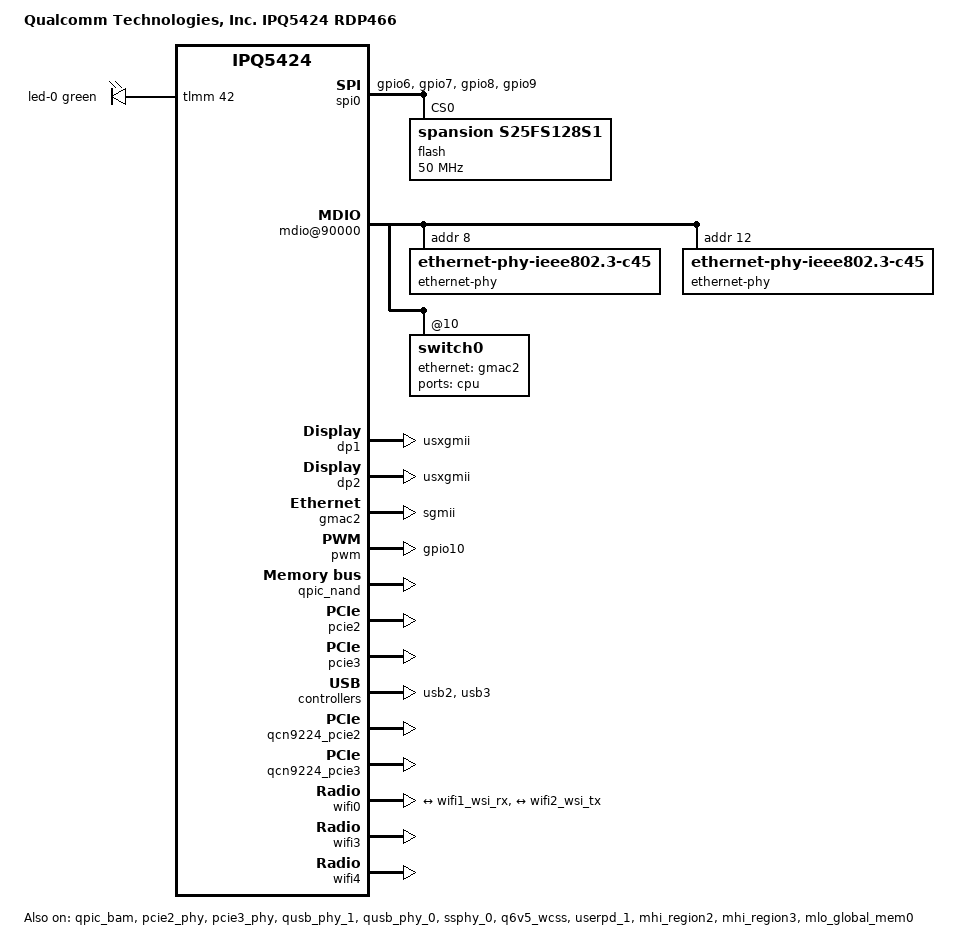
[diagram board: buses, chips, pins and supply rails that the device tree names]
// SPDX-License-Identifier: (GPL-2.0+ OR BSD-3-Clause)
/*
 * IPQ5424 RDP466 board device tree source
 *
 * Copyright (c) 2020-2021 The Linux Foundation. All rights reserved.
 * Copyright (c) 2022-2025 Qualcomm Innovation Center, Inc. All rights reserved.
 */

/dts-v1/;

#include "ipq5424-rdp-common.dtsi"
#ifdef __IPQ_MEM_PROFILE_512_MB__
#include "ipq5424-512MB-default-memory.dtsi"
#else
#include "ipq5424-default-memory.dtsi"
#endif

/ {
	model = "Qualcomm Technologies, Inc. IPQ5424 RDP466";
	compatible = "qcom,ipq5424-rdp466", "qcom,ipq5424";

	soc@0 {
		tlmm: pinctrl@1000000 {
			qup_spi1_default: qup-spi1-default-state {
				qup_spi1_clk {
					pins = "gpio45";
					function = "spi10";
					drive-strength = <8>;
					bias-disable;
				};

				qup_spi1_cs {
					pins = "gpio46";
					function = "spi1_cs";
					drive-strength = <8>;
					bias-disable;
				};

				qup_spi1_miso {
					pins = "gpio47";
					function = "spi10";
					drive-strength = <8>;
					bias-disable;
				};

				qup_spi1_mosi {
					pins = "gpio48";
					function = "spi10";
					drive-strength = <8>;
					bias-disable;
				};
			};

			audio_pins_pri: audio_pinmux_pri {
				mux_1 {
					pins = "gpio36";
					function = "audio_pri";
					drive-strength = <8>;
					bias-pull-down;
				};

				mux_2 {
					pins = "gpio37";
					function = "audio_pri";
					drive-strength = <8>;
					bias-pull-down;
				};

				mux_3 {
					pins = "gpio38";
					function = "audio_pri";
					drive-strength = <8>;
					bias-pull-down;
				};

				mux_4 {
					pins = "gpio39";
					function = "audio_pri";
					drive-strength = <8>;
					bias-pull-down;
				};
			};
		};

		qupv3: geniqup@1ac0000 {

			i2c0: i2c@1a88000 {
				pinctrl-0 = <&qup_i2c0_default>;
				pinctrl-names = "default";
				status = "disabled";
			};

			spi0: spi@1a90000 {
				pinctrl-0 = <&qup_spi0_default>;
				pinctrl-names = "default";
				status = "okay";

				flash@0 {
					compatible = "spansion,s25fs128s1", "jedec,spi-nor";
					#address-cells = <1>;
					#size-cells = <1>;
					reg = <0>;
					spi-max-frequency = <50000000>;
				};
			};

			spi1: spi@1a94000 {
				pinctrl-0 = <&qup_spi1_default>;
				pinctrl-names = "default";
				status = "disabled";

				spidev1: spi@0 {
					compatible = "qti,spidev";
					reg = <0>;
					spi-max-frequency = <9600000>;
				};
			};
		};

		leds {
			compatible = "gpio-leds";
			pinctrl-0 = <&gpio_leds_default>;
			pinctrl-names = "default";

			led-0 {
				color = <LED_COLOR_ID_GREEN>;
				function = LED_FUNCTION_WLAN;
				gpios = <&tlmm 42 GPIO_ACTIVE_HIGH>;
				linux,default-trigger = "phy0tx";
				default-state = "off";
			};
		};

		wsi: wsi {
			id = <0>;
			num_chip = <3>;
			chip_info = <0 2 1 2>,
				    <1 2 2 0>,
				    <2 2 0 1>;
			status = "okay";
		};

		mdio@90000 {
			/* GPIO40 is for port 1 QCA81XX PHY */
			/* GPIO28 is for port 2 QCA81XX PHY */
			/* GPIO18 is for QCA8386 switch */
			phy-reset-gpio = <
				&tlmm 40 GPIO_ACTIVE_LOW
				&tlmm 28 GPIO_ACTIVE_LOW
				&tlmm 18 GPIO_ACTIVE_LOW
			>;

			ethernet-phy@4 {
				reg = <8>;
				compatible ="ethernet-phy-ieee802.3-c45";
			};

			ethernet-phy@5 {
				reg = <12>;
				compatible ="ethernet-phy-ieee802.3-c45";
			};

			switch0@10 {
				ports {
					port@0 {
						reg = <0>;
						label = "cpu";
						ethernet = <&gmac2>;
						dsa-tag-protocol = "qca_8021q";
					};
				};
			};
		};

		ess-instance {
#ifdef __CONFIG_IO_COHERENCY__
			dma-coherent;
#endif
			ess-switch@3a000000 {
#ifdef __CONFIG_IO_COHERENCY__
				dma-coherent;
#endif
				switch_cpu_bmp = <0x1>;  /* cpu port bitmap */
				switch_lan_bmp = <0xc>; /* lan port bitmap */
				switch_wan_bmp = <0x2>; /* wan port bitmap */
				switch_mac_mode = <0xd>; /* mac mode for uniphy instance0*/
				switch_mac_mode1 = <0xd>; /* mac mode for uniphy instance1*/

				qcom,port_phyinfo {
					port@0 {
						port_id = <1>;
						phy_address = <8>;
						ethernet-phy-ieee802.3-c45;
					};

					port@1 {
						port_id = <2>;
						phy_address = <12>;
						ethernet-phy-ieee802.3-c45;
					};
				};
			};

			ess-switch1@1 {
#ifdef __CONFIG_IO_COHERENCY__
				dma-coherent;
#endif
				link-polling-required = <0>;
				fdb_sync = "interrupt";
				link-intr-gpio = <&tlmm 41 GPIO_ACTIVE_HIGH>;
			};
		};

		dp1 {
			device_type = "network";
			compatible = "qcom,nss-dp";
#ifdef __CONFIG_IO_COHERENCY__
			dma-coherent;
#endif
			qcom,id = <1>;
			reg = <0x3A500000 0x4000>;
			qcom,mactype = <1>;
			local-mac-address = [000000000000];
			qcom,phy-mdio-addr = <8>;
			qcom,link-poll = <1>;
			phy-mode = "usxgmii";
		};

		dp2 {
			device_type = "network";
			compatible = "qcom,nss-dp";
#ifdef __CONFIG_IO_COHERENCY__
			dma-coherent;
#endif
			qcom,id = <2>;
			reg = <0x3A504000 0x4000>;
			qcom,mactype = <1>;
			local-mac-address = [000000000000];
			qcom,phy-mdio-addr = <12>;
			qcom,link-poll = <1>;
			phy-mode = "usxgmii";
		};

		gmac2:dp3 {
			device_type = "network";
			compatible = "qcom,nss-dp";
#ifdef __CONFIG_IO_COHERENCY__
			dma-coherent;
#endif
			qcom,id = <3>;
			reg = <0x3a001400 0x200>;
			qcom,mactype = <0>;
			local-mac-address = [000000000000];
			qcom,mht-dev = <1>;
			qcom,is_switch_connected = <1>;
			phy-mode = "sgmii";
			qcom,ppe-offload-disabled = <1>;
		};

		/* EDMA host driver configuration for the board */
		edma@3ab00000 {
#ifdef __CONFIG_IO_COHERENCY__
			dma-coherent;
#endif
			qcom,txdesc-ring-start = <4>;		/* Tx desc ring start ID */
			qcom,txdesc-rings = <16>;		/* Total number of Tx desc rings to be provisioned */
			qcom,mht-txdesc-rings = <12>;		/* Extra Tx desc rings to be provisioned for MHT SW ports */
			qcom,txcmpl-ring-start = <4>;		/* Tx complete ring start ID */
			qcom,txcmpl-rings = <16>;		/* Total number of Tx complete rings to be provisioned */
			qcom,mht-txcmpl-rings = <12>;		/* Extra Tx complete rings to be provisioned for mht sw ports. */
			qcom,rxfill-ring-start = <4>;		/* Rx fill ring start ID */
			qcom,rxfill-rings = <4>;		/* Total number of Rx fill rings to be provisioned */
			qcom,rxdesc-ring-start = <20>;		/* Rx desc ring start ID */
			qcom,rxdesc-rings = <4>;		/* Total number of Rx desc rings to be provisioned */
			qcom,rx-page-mode = <0>;		/* Rx fill ring page mode */
			qcom,tx-map-priority-level = <1>;	/* Tx priority level per port */
			qcom,rx-map-priority-level = <1>;	/* Rx priority level per core */
			qcom,ppeds-num = <3>;			/* Number of PPEDS nodes */
			/* PPE-DS node format: <Rx-fill Tx-cmpl Rx Tx Queue-base Queue-count> */
			qcom,ppeds-map = <1 1 1 1 32 8>,	/* PPEDS Node #0 ring and queue map */
					<2 2 2 2 40 8>,		/* PPEDS Node #1 ring and queue map */
					<3 3 3 3 48 8>;		/* PPEDS Node #2 ring and queue map */
			qcom,txdesc-map = <4 5 6 7>,		/* Port1 per-core Tx ring map */
					<8 9 10 11>,		/* Port2 per-core Tx ring map */
					<12 13 14 15>,		/* MHT-Port1 per-core Tx ring map */
					<16 17 18 19>,		/* MHT-Port2 per-core Tx ring map */
					<20 21 22 23>,		/* MHT-Port3 per-core Tx ring map */
					<24 25 26 27>,		/* MHT-Port4 per-core Tx ring map */
					<28 29 30 31>;		/* Used only for packets from VP */
			qcom,txdesc-fc-grp-map = <1 2 3 4 5 6>;	/* Per GMAC flow control group map */
			qcom,rxfill-map = <4 5 6 7>;		/* Per-core Rx fill ring map */
			qcom,rxdesc-map = <20 21 22 23>;	/* Per-core Rx desc ring map */
			qcom,rx-queue-start = <0>;		/* Rx queue start */
			qcom,edma_loopback_ring;                /* Enable Loopback ring */
			qcom,num_loopback_rings = <1>;          /* Number of loopback rings */
			qcom,txdesc_loopback_ring_id = <0>;     /* Loopback TX desc ring ID */
			qcom,txcmpl_loopback_ring_id = <0>;     /* Loopback TX cmpl ring ID */
			qcom,rxfill_loopback_ring_id = <0>;     /* Loopback RX fill ring ID */
			qcom,rxdesc_loopback_ring_id = <0>;     /* Loopback RX desc ring ID */
			qcom,loopback_queue_base = <56>;        /* Loopback queue base */
			qcom,loopback_num_queues = <8>;         /* Number of Loopback queues */
			qcom,rx-ring-queue-map = <0 8 16 24>,	/* Priority 0 queues per-core Rx ring map */
						<1 9 17 25>,	/* Priority 1 queues per-core Rx ring map */
						<2 10 18 26>,	/* Priority 2 queues per-core Rx ring map */
						<3 11 19 27>,	/* Priority 3 queues per-core Rx ring map */
						<4 12 20 28>,	/* Priority 4 queues per-core Rx ring map */
						<5 13 21 29>,	/* Priority 5 queues per-core Rx ring map */
						<6 14 22 30>,	/* Priority 6 queues per-core Rx ring map */
						<7 15 23 31>;	/* Priority 7 queues per-core Rx ring map */
			interrupts = <0 286 4>,			/* Tx complete ring id #4 IRQ info */
					<0 287 4>,		/* Tx complete ring id #5 IRQ info */
					<0 288 4>,		/* Tx complete ring id #6 IRQ info */
					<0 289 4>,		/* Tx complete ring id #7 IRQ info */
					<0 290 4>,		/* Tx complete ring id #8 IRQ info */
					<0 291 4>,		/* Tx complete ring id #9 IRQ info */
					<0 292 4>,		/* Tx complete ring id #10 IRQ info */
					<0 293 4>,		/* Tx complete ring id #11 IRQ info */
					<0 294 4>,		/* Tx complete ring id #12 IRQ info */
					<0 295 4>,		/* Tx complete ring id #13 IRQ info */
					<0 296 4>,		/* Tx complete ring id #14 IRQ info */
					<0 297 4>,		/* Tx complete ring id #15 IRQ info */
					<0 298 4>,		/* Tx complete ring id #16 IRQ info */
					<0 299 4>,		/* Tx complete ring id #17 IRQ info */
					<0 300 4>,		/* Tx complete ring id #18 IRQ info */
					<0 301 4>,		/* Tx complete ring id #19 IRQ info */
					<0 270 4>,		/* Rx desc ring id #20 IRQ info */
					<0 271 4>,		/* Rx desc ring id #21 IRQ info */
					<0 272 4>,		/* Rx desc ring id #22 IRQ info */
					<0 273 4>,		/* Rx desc ring id #23 IRQ info */
					<0 314 4>,		/* Misc error IRQ info */
					<0 278 4>,		/* RxFill ring id #4 IRQ info */
					<0 279 4>,		/* RxFill ring id #5 IRQ info */
					<0 280 4>,		/* RxFill ring id #6 IRQ info */
					<0 281 4>,		/* RxFill ring id #7 IRQ info */
					<0 283 4>,		/* PPEDS Node #0(TxComp ring id #1) TxComplete IRQ info */
					<0 251 4>,		/* PPEDS Node #0(Rx Desc ring id #1) Rx Desc IRQ info */
					<0 275 4>,		/* PPEDS Node #0(RxFill Desc ring id #1) Rx Fill IRQ info */
					<0 284 4>,		/* PPEDS Node #1(TxComp ring id #2) TxComplete IRQ info */
					<0 252 4>,		/* PPEDS Node #1(Rx Desc ring id #2) Rx Desc IRQ info */
					<0 276 4>,		/* PPEDS Node #1(RxFill Desc ring id #2) Rx Fill IRQ info */
					<0 285 4>,		/* PPEDS Node #2(TxComp ring id #3) TxComplete IRQ info */
					<0 253 4>,		/* PPEDS Node #2(Rx Desc ring id #3) Rx Desc IRQ info */
					<0 277 4>,		/* PPEDS Node #2(RxFill Desc ring id #3) Rx Fill IRQ info */
					<0 302 4>,		/* MHT port Tx complete ring id #20 IRQ info */
					<0 303 4>,		/* MHT port Tx complete ring id #21 IRQ info */
					<0 304 4>,		/* MHT port Tx complete ring id #22 IRQ info */
					<0 305 4>,		/* MHT port Tx complete ring id #23 IRQ info */
					<0 306 4>,		/* MHT port Tx complete ring id #24 IRQ info */
					<0 307 4>,		/* MHT port Tx complete ring id #25 IRQ info */
					<0 308 4>,		/* MHT port Tx complete ring id #26 IRQ info */
					<0 309 4>,		/* MHT port Tx complete ring id #27 IRQ info */
					<0 310 4>,		/* MHT port Tx complete ring id #28 IRQ info */
					<0 311 4>,		/* MHT port Tx complete ring id #29 IRQ info */
					<0 312 4>,		/* MHT port Tx complete ring id #30 IRQ info */
					<0 313 4>;		/* MHT port Tx complete ring id #31 IRQ info */
		};
	};
};

&pcm {
	pinctrl-0 = <&audio_pins_pri>;
	pinctrl-names = "primary";
	status = "disabled";
};

&pwm {
	pinctrl-0 = <&pwm_default_state>;
	pinctrl-names = "default";
};

&qpic_bam {
	status = "okay";
};

&qpic_nand {
	status = "okay";
};

&pcie0 {
	perst-gpio = <&tlmm 25 GPIO_ACTIVE_LOW>;

	pcie0_rp {
		reg = <0 0 0 0 0>;
	};
};

&pcie1 {
	perst-gpio = <&tlmm 28 GPIO_ACTIVE_LOW>;

	pcie1_rp {
		reg = <0 0 0 0 0>;
	};
};

&pcie2_phy {
	status = "okay";
};

&pcie2 {
	status = "okay";
	perst-gpio = <&tlmm 31 GPIO_ACTIVE_LOW>;

	pcie2_rp {
		reg = <0 0 0 0 0>;

		qcom,mhi@2 {
			reg = <0 0 0 0 0>;
			boot-args = <0x2 0x4 0xFF 0x3 0x0 0x0  /* MX Rail, Invalid GPIO, Drive strength 0x3 */
					0x5 0x4 0x34 0x3 0x0 0x16 /* CX Rail, GPIO52, Drive strength 0x3, CPR1_fuse 0x0, CPR0_fuse 0x16 */
					0x0 0x4 0x0 0x0 0x0 0x0>; /* End of arguments */
			memory-region = <&qcn9224_pcie2>, <&mhi_region2>, <&mlo_global_mem0>;
			memory-region-names = "host-ddr-mem", "mhi-region", "mlo-global-mem";
			qcom,early_cal_enabled = "supported";
			qcom,caldata_offset = <0x12000>;
			qcom,board_id = <0x29>;
			qcom,wsi = <&wsi>;
			qcom,wsi_index = <1>;
			ports {
				#address-cells = <1>;
				#size-cells = <0>;

				port@0 {
					reg = <0>;

					wifi1_wsi_tx: endpoint {
						remote-endpoint = <&wifi2_wsi_rx>;
					};
				};

				port@1 {
					reg = <1>;

					wifi1_wsi_rx: endpoint {
						remote-endpoint = <&wifi0_wsi_tx>;
					};
				};
			};
		};
	};
};

&pcie3_phy {
	status = "okay";
};

&pcie3 {
	status = "okay";
	perst-gpio = <&tlmm 34 GPIO_ACTIVE_LOW>;

	pcie3_rp {
		reg = <0 0 0 0 0>;

		qcom,mhi@3 {
			reg = <0 0 0 0 0>;
			boot-args = <0x2 0x4 0xFF 0x3 0x0 0x0  /* MX Rail, Invalid GPIO, Drive strength 0x3 */
					0x5 0x4 0x34 0x3 0x0 0x16 /* CX Rail, GPIO52, Drive strength 0x3, CPR1_fuse 0x0, CPR0_fuse 0x16 */
					0x0 0x4 0x0 0x0 0x0 0x0>; /* End of arguments */
			memory-region = <&qcn9224_pcie3>, <&mhi_region3>, <&mlo_global_mem0>;
			memory-region-names = "host-ddr-mem", "mhi-region", "mlo-global-mem";
			qcom,early_cal_enabled = "supported";
			qcom,caldata_offset = <0x2e800>;
			qcom,board_id = <0x28>;
			qcom,wsi = <&wsi>;
			qcom,wsi_index = <2>;
			ports {
				#address-cells = <1>;
				#size-cells = <0>;

				port@0 {
					reg = <0>;

					wifi2_wsi_tx: endpoint {
						remote-endpoint = <&wifi0_wsi_rx>;
					};
				};

				port@1 {
					reg = <1>;

					wifi2_wsi_rx: endpoint {
						remote-endpoint = <&wifi1_wsi_tx>;
					};
				};
			};
		};
	};
};

&reg_update {
	secure-reg = <0x00610a08 0x80>, /* aggr_noc_pcie2 */
		     <0x00610b08 0x80>; /* aggr_noc_pcie3 */
};

&qusb_phy_1 {
	status = "okay";
};

&usb2 {
	status = "okay";
};

&qusb_phy_0 {
	status = "okay";
};

&ssphy_0 {
	status = "okay";
};

&usb3 {
	status = "okay";
};

&q6v5_wcss {
	status = "okay";
};

#if !defined(__RPROC_DISABLE_MPD_SUPPORT__)
&userpd_1 {
	status = "okay";
};
#endif

&qcn9224_pcie2 {
	status = "okay";
};

&qcn9224_pcie3 {
	status = "okay";
};

#if defined(__MHI_BUS_RESERVED_DMA_POOL__)
&mhi_region2 {
	status = "okay";
};

&mhi_region3 {
	status = "okay";
};
#endif

&tlmm {
	gpio_leds_default: gpio-leds-default-state {
		pins = "gpio42";
		function = "gpio";
		drive-strength = <8>;
		bias-pull-down;
	};

	pcie0_default_state: pcie0-default-state {
		perst-n-pins {
			pins = "gpio25";
			function = "gpio";
			drive-strength = <8>;
			bias-pull-up;
			output-low;
		};
	};

	pcie1_default_state: pcie1-default-state {
		perst-n-pins {
			pins = "gpio28";
			function = "gpio";
			drive-strength = <8>;
			bias-pull-up;
			output-low;
		};
	};

	pcie2_default_state: pcie2-default-state {
		perst-n-pins {
			pins = "gpio31";
			function = "gpio";
			drive-strength = <8>;
			bias-pull-up;
			output-low;
		};
	};

	pcie3_default_state: pcie3-default-state {
		perst-n-pins {
			pins = "gpio34";
			function = "gpio";
			drive-strength = <8>;
			bias-pull-up;
			output-low;
		};
	};

	pwm_default_state: pwm-default-state {
		pins = "gpio10";
		function = "pwm0";
		drive-strength = <8>;
	};

	qspi_default_state: qspi-default-state {
		qspi_clock {
			pins = "gpio5";
			function = "qspi_clk";
			drive-strength = <8>;
			bias-pull-down;
		};

		qspi_cs {
			pins = "gpio4";
			function = "qspi_cs";
			drive-strength = <8>;
			bias-pull-up;
		};

		qspi_data {
			pins = "gpio0", "gpio1", "gpio2", "gpio3";
			function = "qspi_data";
			drive-strength = <8>;
			bias-pull-down;
		};
	};

	qup_spi0_default: qup-spi0-default-state {
		qup_spi0_clk {
			pins = "gpio6";
			function = "spi0_clk";
			drive-strength = <8>;
			bias-pull-down;
		};

		qup_spi0_cs {
			pins = "gpio7";
			function = "spi0_cs";
			drive-strength = <8>;
			bias-pull-up;
		};

		qup_spi0_miso {
			pins = "gpio8";
			function = "spi0_miso";
			drive-strength = <8>;
			bias-pull-down;
		};

		qup_spi0_mosi {
			pins = "gpio9";
			function = "spi0_mosi";
			drive-strength = <8>;
			bias-pull-down;
		};
	};

	qup_uart1_default: qup-uart1-default-state {
		qup_uart1_tx: tx-pins {
			pins = "gpio44";
			function = "uart1_tx";
			drive-strength = <8>;
			bias-pull-down;
		};

		qup_uart1_rx: rx-pins {
			pins = "gpio43";
			function = "uart1_rx";
			drive-strength = <8>;
			bias-pull-up;
		};
	};

	sdc_default_state: sdc-default-state {
		clk-pins {
			pins = "gpio5";
			function = "sdc_clk";
			drive-strength = <8>;
			bias-disable;
		};

		cmd-pins {
			pins = "gpio4";
			function = "sdc_cmd";
			drive-strength = <8>;
			bias-pull-up;
		};

		data-pins {
			pins = "gpio0", "gpio1", "gpio2", "gpio3";
			function = "sdc_data";
			drive-strength = <8>;
			bias-pull-up;
		};
	};

	qup_i2c0_default: qup-i2c0-default-state {
		qup_i2c0_scl {
			pins = "gpio14";
			function = "i2c0_scl";
			drive-strength = <8>;
			bias-disable;
		};
		qup_i2c0_sda {
			pins = "gpio15";
			function = "i2c0_sda";
			drive-strength = <8>;
			bias-disable;
		};
	};
};

&mlo_global_mem0 {
	status = "okay";
};

&wifi0 {
	qcom,rproc = <&q6v5_wcss>;
	qcom,tgt-mem-mode = <0>;
	memory-region = <&q6_region>, <&q6_region>, <&q6_ipq5424_data>, <&m3_dump>,
			<&mlo_global_mem0>, <&q6_etr_region>;
	memory-region-names = "q6-region", "q6-region-1", "host-ddr-mem","m3-dump",
			      "mlo-global-mem", "q6-etr-dump";
	qcom,wsi = <&wsi>;
	qcom,wsi_index = <0>;
	qcom,board_id = <0x11>;
	hw_link_id = <0 0>;
	status = "okay";
	qcom,wsi-controller;
	ports {
		#address-cells = <1>;
		#size-cells = <0>;

		port@0 {
			reg = <0>;

			wifi0_wsi_tx: endpoint {
				remote-endpoint = <&wifi1_wsi_rx>;
			};
		};

		port@1 {
			reg = <1>;

			wifi0_wsi_rx: endpoint {
				remote-endpoint = <&wifi2_wsi_tx>;
			};
		};
	};
};

&wifi3 {
	hremote_node = <&qcn9224_pcie2>;
	board_id = <0x29>;
	hw_link_id = <1 0>;
	status = "okay";
};

&wifi4 {
	hremote_node = <&qcn9224_pcie3>;
	board_id = <0x28>;
	hw_link_id = <2 0>;
	status = "okay";
};
